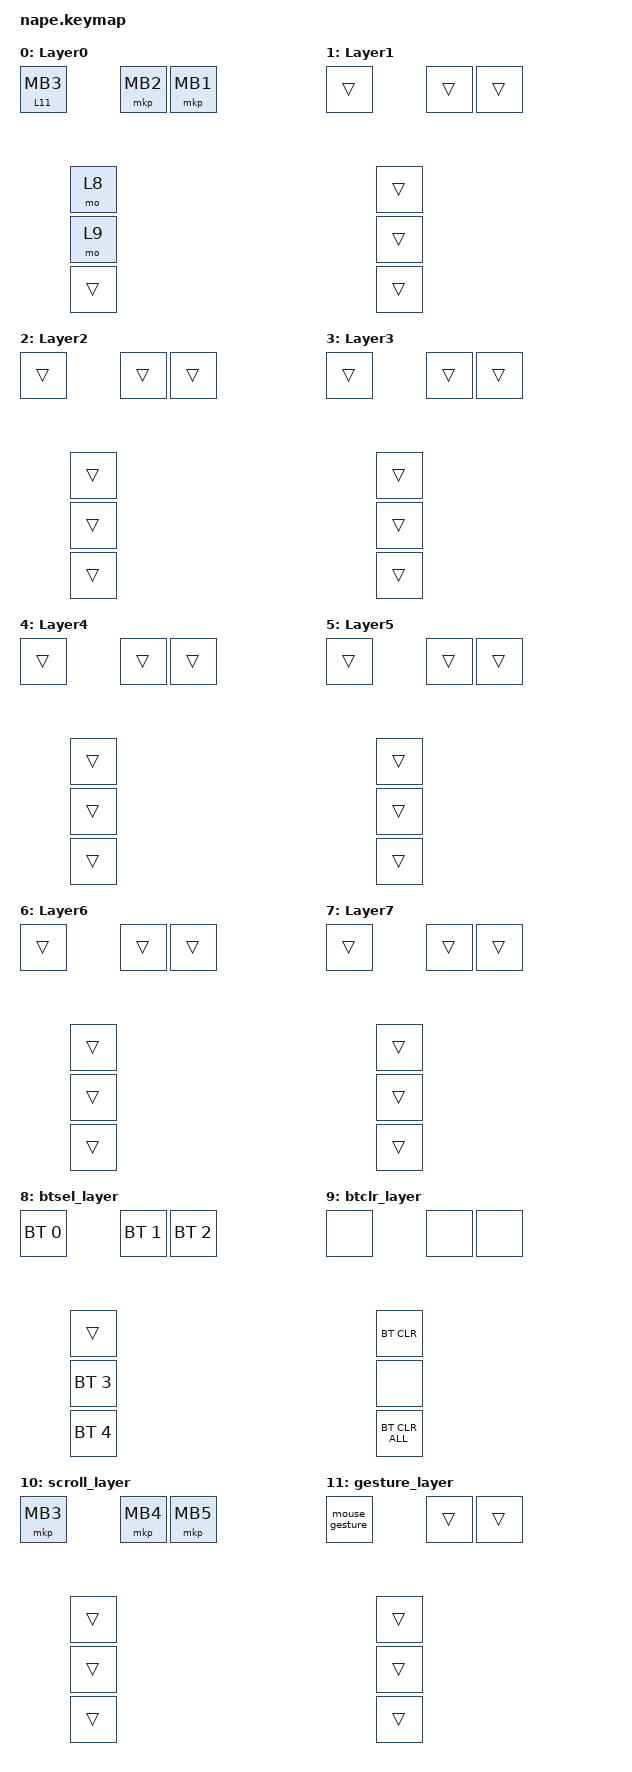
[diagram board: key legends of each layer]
#include <dt-bindings/zmk/mouse.h>
#include <mouse-gesture.dtsi>

#define ZMK_POINTING_DEFAULT_MOVE_VAL 800
#define ZMK_POINTING_DEFAULT_SCRL_VAL 120

#include <input/processors.dtsi>
#include <zephyr/dt-bindings/input/input-event-codes.h>
#include <behaviors.dtsi>
#include <dt-bindings/zmk/bt.h>
#include <dt-bindings/zmk/keys.h>
#include <dt-bindings/zmk/pointing.h>

&mmv {
    delay-ms = <0>;
    trigger-period-ms = <10>;
    time-to-max-speed-ms = <0>;
    acceleration-exponent = <1>;
};

&msc {
    delay-ms = <0>;
    trigger-period-ms = <10>;
    time-to-max-speed-ms = <0>;
    acceleration-exponent = <0>;
};

 / {
    input_processors {
        zip_wheel_scaler: zip_wheel_scaler {
            compatible = "zmk,input-processor-scaler";
            #input-processor-cells = <2>;
            type = <INPUT_EV_REL>;
            codes = <INPUT_REL_WHEEL>;
            track-remainders;
        };

        zip_hwheel_scaler: zip_hwheel_scaler {
            compatible = "zmk,input-processor-scaler";
            #input-processor-cells = <2>;
            type = <INPUT_EV_REL>;
            codes = <INPUT_REL_HWHEEL>;
            track-remainders;
        };
    };

    behaviors {
        mouse_mv: mouse_cursor_move {
            compatible = "zmk,behavior-sensor-rotate-var";
            #sensor-binding-cells = <2>;
            bindings = <&mmv>, <&mmv>;
            tap-ms = <10>;
        };

        mouse_scrl: mouse_wheel_scrl {
            compatible = "zmk,behavior-sensor-rotate-var";
            #sensor-binding-cells = <2>;
            bindings = <&msc>, <&msc>;
            tap-ms = <10>;
        };

        lt_mkp: lt_mkp {
            compatible = "zmk,behavior-hold-tap";
            label = "LT_MKP";
            bindings = <&mo>, <&mkp>;
            #binding-cells = <2>;
            tapping-term-ms = <200>;
        };

        mod_mkp: mod_mkp {
            compatible = "zmk,behavior-hold-tap";
            label = "MOD_MKP";
            bindings = <&kp>, <&mkp>;
            #binding-cells = <2>;
            tapping-term-ms = <200>;
        };
    };

    keymap {
        compatible = "zmk,keymap";

        Layer0 {
            bindings = <
                &lt_mkp 11 MB3   &mkp MB2   &mkp MB1   &mo 8   &mo 9   &trans
            >;
        };

        Layer1 { bindings = < &trans &trans &trans &trans &trans &trans >; };
        Layer2 { bindings = < &trans &trans &trans &trans &trans &trans >; };
        Layer3 { bindings = < &trans &trans &trans &trans &trans &trans >; };
        Layer4 { bindings = < &trans &trans &trans &trans &trans &trans >; };
        Layer5 { bindings = < &trans &trans &trans &trans &trans &trans >; };
        Layer6 { bindings = < &trans &trans &trans &trans &trans &trans >; };
        Layer7 { bindings = < &trans &trans &trans &trans &trans &trans >; };

        btsel_layer {
            bindings = <
                &bt BT_SEL 0   &bt BT_SEL 1   &bt BT_SEL 2   &trans   &bt BT_SEL 3   &bt BT_SEL 4
            >;
        };

        btclr_layer {
            bindings = <
                &none &none &none   &bt BT_CLR   &none   &bt BT_CLR_ALL
            >;
        };

        scroll_layer {
            bindings = <
                &mkp MB3   &mkp MB4   &mkp MB5   &trans   &trans   &trans
            >;
        };

        gesture_layer {
            bindings = <
                &mouse_gesture   &trans   &trans   &trans   &trans   &trans
            >;
        };
    };

    combos {
        compatible = "zmk,combos";

        combo_layer10 {
            bindings = <&mo 10>;
            key-positions = <1 2>;
            timeout-ms = <50>;
        };
    };
};
